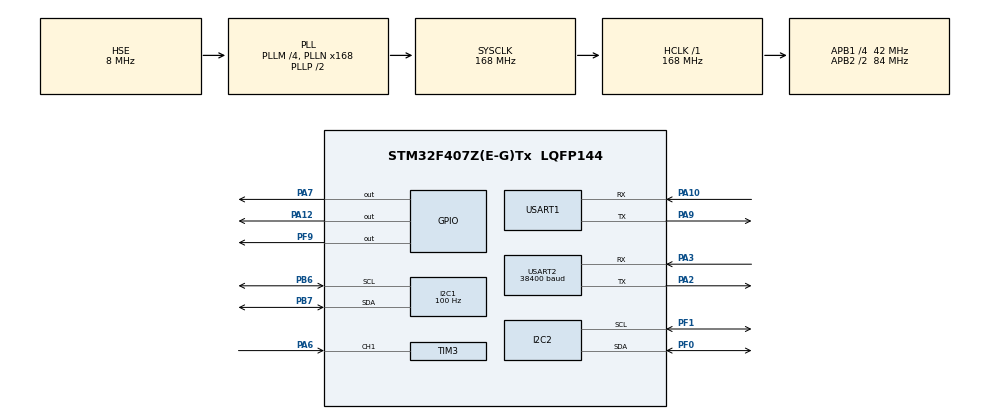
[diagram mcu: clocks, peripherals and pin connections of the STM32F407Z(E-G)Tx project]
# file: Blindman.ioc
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I2C1.ClockSpeed=100
I2C1.I2C_Mode=I2C_Fast
I2C1.OwnAddress=0
Mcu.Family=STM32F4
Mcu.Name=STM32F407Z(E-G)Tx
Mcu.Package=LQFP144
NVIC.PriorityGroup=NVIC_PRIORITYGROUP_4
NVIC.TIM3_IRQn=true\:0\:0\:true\:false\:true\:true\:true\:true
NVIC.TIM4_IRQn=true\:3\:0\:true\:false\:true\:true\:true\:true
PA10.Mode=Asynchronous
PA10.Signal=USART1_RX
PA12.Signal=GPIO_Output
PA13.Mode=Serial_Wire
PA13.Signal=SYS_JTMS-SWDIO
PA14.Mode=Serial_Wire
PA14.Signal=SYS_JTCK-SWCLK
PA2.Mode=Asynchronous
PA2.Signal=USART2_TX
PA3.Mode=Asynchronous
PA3.Signal=USART2_RX
PA6.GPIO_PuPd=GPIO_PULLDOWN
PA6.Signal=S_TIM3_CH1
PA7.Signal=GPIO_Output
PA9.Mode=Asynchronous
PA9.Signal=USART1_TX
PB6.Mode=I2C
PB6.Signal=I2C1_SCL
PB7.Mode=I2C
PB7.Signal=I2C1_SDA
PF0.Mode=I2C
PF0.Signal=I2C2_SDA
PF1.Mode=I2C
PF1.Signal=I2C2_SCL
PF9.Signal=GPIO_Output
PH0-OSC_IN.Mode=HSE-External-Oscillator
PH0-OSC_IN.Signal=RCC_OSC_IN
PH1-OSC_OUT.Mode=HSE-External-Oscillator
PH1-OSC_OUT.Signal=RCC_OSC_OUT
ProjectManager.HeapSize=0x200
ProjectManager.StackSize=0x400
ProjectManager.TargetToolchain=MDK-ARM V5.27
RCC.48MHZClocksFreq_Value=84000000
RCC.AHBFreq_Value=168000000
RCC.APB1CLKDivider=RCC_HCLK_DIV4
RCC.APB1Freq_Value=42000000
RCC.APB1TimFreq_Value=84000000
RCC.APB2CLKDivider=RCC_HCLK_DIV2
RCC.APB2Freq_Value=84000000
RCC.APB2TimFreq_Value=168000000
RCC.CortexFreq_Value=168000000
RCC.HCLKFreq_Value=168000000
RCC.HSE_VALUE=8000000
RCC.HSI_VALUE=16000000
RCC.LSE_VALUE=32768
RCC.PLLM=4
RCC.PLLN=168
RCC.PLLSourceVirtual=RCC_PLLSOURCE_HSE
RCC.SYSCLKFreq_VALUE=168000000
RCC.SYSCLKSource=RCC_SYSCLKSOURCE_PLLCLK
RCC.VCOOutputFreq_Value=336000000
SH.S_TIM3_CH1.0=TIM3_CH1,Input_Capture1_from_TI1
TIM3.Channel-Input_Capture1_from_TI1=TIM_CHANNEL_1
TIM3.Prescaler=83
TIM4.Period=9999
TIM4.Prescaler=8399
USART1.VirtualMode=VM_ASYNC
USART2.BaudRate=38400
USART2.VirtualMode=VM_ASYNC
VP_TIM3_VS_ClockSourceINT.Mode=Internal
VP_TIM4_VS_ClockSourceINT.Mode=Internal
board=custom

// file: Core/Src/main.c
/* USER CODE BEGIN Header */
/**
  ******************************************************************************
  * @file           : main.c
  * @brief          : Main program body
  ******************************************************************************
  * @attention
  *
  * Copyright (c) 2023 STMicroelectronics.
  * All rights reserved.
  *
  * This software is licensed under terms that can be found in the LICENSE file
  * in the root directory of this software component.
  * If no LICENSE file comes with this software, it is provided AS-IS.
  *
  ******************************************************************************
  */
/* USER CODE END Header */
#include "main.h"
#include "i2c.h"
#include "tim.h"
#include "usart.h"
#include "gpio.h"

/* USER CODE BEGIN Includes */
#include "stdio.h"
#include "mpu6050.h"
#include "demo.h"
#include "US_100.h"
#include "GPS.h"
#include "cJSON.h"
#include "delay.h"

/* USER CODE END Includes */

void SystemClock_Config(void);

int main(void)
{

  /* MCU Configuration--------------------------------------------------------*/

  /* Reset of all peripherals, Initializes the Flash interface and the Systick. */
  HAL_Init();

  /* Configure the system clock */
  SystemClock_Config();

  /* Initialize all configured peripherals */
  MX_GPIO_Init();
  MX_I2C1_Init();
  MX_USART1_UART_Init();
  MX_TIM3_Init();
  MX_TIM4_Init();
  MX_I2C2_Init();
  MX_USART2_UART_Init();
  /* USER CODE BEGIN 2 */
	delay_init(168);

	 __HAL_TIM_CLEAR_FLAG(&htim4, TIM_FLAG_UPDATE);//启用前清除TIM中断标志位
	__HAL_TIM_CLEAR_IT(&htim4, TIM_IT_UPDATE);//启用前清除TIM中断
		HAL_TIM_Base_Start_IT(&htim4);//开启TIM计数
		GPS_init();
//  uint8_t ReadBuffer[100]={'\0'};
//	if(HAL_I2C_Master_Transmit(&hi2c1,((0x68<<1)|0),NULL,0,100))
//	{
//		printf("Error:\nfilename:%s line num:%d\n", __FILE__ , __LINE__);
//	}
//	if(Mpu6050_init())
//	{
//		printf("Mpu6050 init succeed\n");
//	}

	//demo_run(); //6轴加速度

  /* USER CODE END 2 */

  /* Infinite loop */
  /* USER CODE BEGIN WHILE */
  while (1)
  {
//		US100_run();    //超声波
		GPS_update();
		HAL_Delay(100);
//	  HAL_GPIO_TogglePin(GPIOF,GPIO_PIN_9);
//	  HAL_Delay(1000);
//	  printf("Hello world\n");
    /* USER CODE END WHILE */

  }
}

void SystemClock_Config(void)
{
  RCC_OscInitTypeDef RCC_OscInitStruct = {0};
  RCC_ClkInitTypeDef RCC_ClkInitStruct = {0};

  /** Configure the main internal regulator output voltage
  */
  __HAL_RCC_PWR_CLK_ENABLE();
  __HAL_PWR_VOLTAGESCALING_CONFIG(PWR_REGULATOR_VOLTAGE_SCALE1);

  /** Initializes the RCC Oscillators according to the specified parameters
  * in the RCC_OscInitTypeDef structure.
  */
  RCC_OscInitStruct.OscillatorType = RCC_OSCILLATORTYPE_HSE;
  RCC_OscInitStruct.HSEState = RCC_HSE_ON;
  RCC_OscInitStruct.PLL.PLLState = RCC_PLL_ON;
  RCC_OscInitStruct.PLL.PLLSource = RCC_PLLSOURCE_HSE;
  RCC_OscInitStruct.PLL.PLLM = 4;
  RCC_OscInitStruct.PLL.PLLN = 168;
  RCC_OscInitStruct.PLL.PLLP = RCC_PLLP_DIV2;
  RCC_OscInitStruct.PLL.PLLQ = 4;
  if (HAL_RCC_OscConfig(&RCC_OscInitStruct) != HAL_OK)
  {
    Error_Handler();
  }

  /** Initializes the CPU, AHB and APB buses clocks
  */
  RCC_ClkInitStruct.ClockType = RCC_CLOCKTYPE_HCLK|RCC_CLOCKTYPE_SYSCLK
                              |RCC_CLOCKTYPE_PCLK1|RCC_CLOCKTYPE_PCLK2;
  RCC_ClkInitStruct.SYSCLKSource = RCC_SYSCLKSOURCE_PLLCLK;
  RCC_ClkInitStruct.AHBCLKDivider = RCC_SYSCLK_DIV1;
  RCC_ClkInitStruct.APB1CLKDivider = RCC_HCLK_DIV4;
  RCC_ClkInitStruct.APB2CLKDivider = RCC_HCLK_DIV2;

  if (HAL_RCC_ClockConfig(&RCC_ClkInitStruct, FLASH_LATENCY_5) != HAL_OK)
  {
    Error_Handler();
  }
}

/* USER CODE BEGIN 4 */
void HAL_TIM_PeriodElapsedCallback (TIM_HandleTypeDef *htim)//回调函数
{
	if(htim->Instance == TIM4)//判断进入回调函数方式
	{
		US100=1;
	}
}

void HAL_TIM_IC_CaptureCallback( TIM_HandleTypeDef *htim )
{
		if( TIM3 == htim->Instance )
			{
				if(HAL_TIM_ACTIVE_CHANNEL_1 == htim->Channel)
				{
					switch(capture_cnt){
						case 1:
							//获取当前计数值
							capture_value1 = __HAL_TIM_GET_COMPARE( htim, TIM_CHANNEL_1 );
  						//设置捕获下降沿
						  //	TIM_SET_CAPTUREPOLARITY(  htim, TIM_CHANNEL_1, TIM_INPUTCHANNELPOLARITY_RISING);
						  __HAL_TIM_SET_CAPTUREPOLARITY(  htim, TIM_CHANNEL_1, TIM_INPUTCHANNELPOLARITY_FALLING);
		  				capture_cnt++;
							break;
						case 2:
							//获取当前计数值
							capture_value2 = __HAL_TIM_GET_COMPARE( htim, TIM_CHANNEL_1 );
    				 //停止输入捕获模式
							HAL_TIM_IC_Stop_IT( htim, TIM_CHANNEL_1);
						  capture_cnt++;
							break;
						default:
							break;
					}
			}
		}
}
/* USER CODE END 4 */

void Error_Handler(void)
{
  __disable_irq();
  while (1)
  {
  }
}
